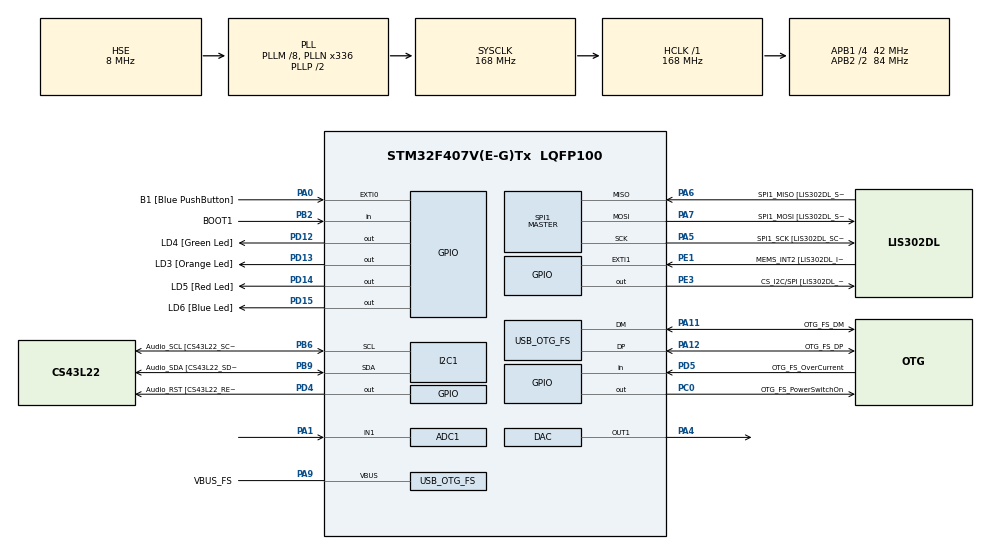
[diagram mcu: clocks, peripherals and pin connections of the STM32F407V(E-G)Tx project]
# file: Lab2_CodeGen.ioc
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ADC1.Channel-0\#ChannelRegularConversion=ADC_CHANNEL_1
ADC1.NbrOfConversionFlag=1
ADC1.Rank-0\#ChannelRegularConversion=1
ADC1.Resolution=ADC_RESOLUTION_10B
ADC1.SamplingTime-0\#ChannelRegularConversion=ADC_SAMPLETIME_3CYCLES
ADC1.master=1
Mcu.Family=STM32F4
Mcu.Name=STM32F407V(E-G)Tx
Mcu.Package=LQFP100
NVIC.ADC_IRQn=true\:0\:0\:false\:false\:true\:true
NVIC.OTG_FS_IRQn=true\:0\:0\:false\:false\:true\:true
NVIC.PriorityGroup=NVIC_PRIORITYGROUP_0
PA0-WKUP.GPIO_Label=B1 [Blue PushButton]
PA0-WKUP.GPIO_ModeDefaultEXTI=GPIO_MODE_EVT_RISING
PA0-WKUP.GPIO_PuPd=GPIO_NOPULL
PA0-WKUP.Signal=GPXTI0
PA1.Signal=ADCx_IN1
PA10.GPIO_Label=OTG_FS_ID
PA10.GPIO_Mode=GPIO_MODE_AF_PP
PA10.GPIO_PuPd=GPIO_NOPULL
PA10.GPIO_Speed=GPIO_SPEED_FREQ_LOW
PA10.Signal=USB_OTG_FS_ID
PA11.GPIO_Label=OTG_FS_DM
PA11.GPIO_Mode=GPIO_MODE_AF_PP
PA11.GPIO_PuPd=GPIO_NOPULL
PA11.GPIO_Speed=GPIO_SPEED_FREQ_LOW
PA11.Mode=Host_Only
PA11.Signal=USB_OTG_FS_DM
PA12.GPIO_Label=OTG_FS_DP
PA12.GPIO_Mode=GPIO_MODE_AF_PP
PA12.GPIO_PuPd=GPIO_NOPULL
PA12.GPIO_Speed=GPIO_SPEED_FREQ_LOW
PA12.Mode=Host_Only
PA12.Signal=USB_OTG_FS_DP
PA13.GPIO_Label=SWDIO
PA13.Mode=Serial_Wire
PA13.Signal=SYS_JTMS-SWDIO
PA14.GPIO_Label=SWCLK
PA14.Mode=Serial_Wire
PA14.Signal=SYS_JTCK-SWCLK
PA4.Signal=COMP_DAC1_group
PA5.GPIO_Label=SPI1_SCK [LIS302DL_SCL/SPC]
PA5.GPIO_Mode=GPIO_MODE_AF_PP
PA5.GPIO_PuPd=GPIO_NOPULL
PA5.GPIO_Speed=GPIO_SPEED_FREQ_LOW
PA5.Mode=Full_Duplex_Master
PA5.Signal=SPI1_SCK
PA6.GPIO_Label=SPI1_MISO [LIS302DL_SDO]
PA6.GPIO_Mode=GPIO_MODE_AF_PP
PA6.GPIO_PuPd=GPIO_NOPULL
PA6.GPIO_Speed=GPIO_SPEED_FREQ_LOW
PA6.Mode=Full_Duplex_Master
PA6.Signal=SPI1_MISO
PA7.GPIO_Label=SPI1_MOSI [LIS302DL_SDA/SDI/SDO]
PA7.GPIO_Mode=GPIO_MODE_AF_PP
PA7.GPIO_PuPd=GPIO_NOPULL
PA7.GPIO_Speed=GPIO_SPEED_FREQ_LOW
PA7.Mode=Full_Duplex_Master
PA7.Signal=SPI1_MOSI
PA9.GPIO_Label=VBUS_FS
PA9.GPIO_Mode=GPIO_MODE_INPUT
PA9.GPIO_PuPd=GPIO_NOPULL
PA9.Mode=Activate_VBUS
PA9.Signal=USB_OTG_FS_VBUS
PB10.GPIO_Label=CLK_IN [MP45DT02_CLK]
PB10.GPIO_Mode=GPIO_MODE_AF_PP
PB10.GPIO_PuPd=GPIO_NOPULL
PB10.GPIO_Speed=GPIO_SPEED_FREQ_LOW
PB10.Signal=I2S2_CK
PB2.GPIO_Label=BOOT1
PB2.GPIO_Mode=GPIO_MODE_INPUT
PB2.GPIO_PuPd=GPIO_NOPULL
PB2.Signal=GPIO_Input
PB3.GPIO_Label=SWO
PB3.Signal=SYS_JTDO-SWO
PB6.GPIO_Label=Audio_SCL [CS43L22_SCL]
PB6.GPIO_Mode=GPIO_MODE_AF_OD
PB6.GPIO_PuPd=GPIO_NOPULL
PB6.GPIO_Speed=GPIO_SPEED_FREQ_LOW
PB6.Mode=I2C
PB6.Signal=I2C1_SCL
PB9.GPIO_Label=Audio_SDA [CS43L22_SDA]
PB9.GPIO_Mode=GPIO_MODE_AF_OD
PB9.GPIO_PuPd=GPIO_NOPULL
PB9.GPIO_Speed=GPIO_SPEED_FREQ_LOW
PB9.Mode=I2C
PB9.Signal=I2C1_SDA
PC0.GPIO_Label=OTG_FS_PowerSwitchOn
PC0.GPIO_PuPd=GPIO_NOPULL
PC0.GPIO_Speed=GPIO_SPEED_FREQ_LOW
PC0.PinState=GPIO_PIN_SET
PC0.Signal=GPIO_Output
PC10.GPIO_Label=I2S3_SCK [CS43L22_SCLK]
PC10.GPIO_Mode=GPIO_MODE_AF_PP
PC10.GPIO_PuPd=GPIO_NOPULL
PC10.GPIO_Speed=GPIO_SPEED_FREQ_LOW
PC10.Signal=I2S3_CK
PC12.GPIO_Label=I2S3_SD [CS43L22_SDIN]
PC12.GPIO_Mode=GPIO_MODE_AF_PP
PC12.GPIO_PuPd=GPIO_NOPULL
PC12.GPIO_Speed=GPIO_SPEED_FREQ_LOW
PC12.Signal=I2S3_SD
PC14-OSC32_IN.GPIO_Label=PC14-OSC32_IN
PC14-OSC32_IN.Mode=LSE-External-Oscillator
PC14-OSC32_IN.Signal=RCC_OSC32_IN
PC15-OSC32_OUT.GPIO_Label=PC15-OSC32_OUT
PC15-OSC32_OUT.Mode=LSE-External-Oscillator
PC15-OSC32_OUT.Signal=RCC_OSC32_OUT
PC3.GPIO_Label=PDM_OUT [MP45DT02_DOUT]
PC3.GPIO_Mode=GPIO_MODE_AF_PP
PC3.GPIO_PuPd=GPIO_NOPULL
PC3.GPIO_Speed=GPIO_SPEED_FREQ_LOW
PC3.Signal=I2S2_SD
PC7.GPIO_Label=I2S3_MCK [CS43L22_MCLK]
PC7.GPIO_Mode=GPIO_MODE_AF_PP
PC7.GPIO_PuPd=GPIO_NOPULL
PC7.GPIO_Speed=GPIO_SPEED_FREQ_LOW
PC7.Signal=I2S3_MCK
PD12.GPIO_Label=LD4 [Green Led]
PD12.GPIO_PuPd=GPIO_NOPULL
PD12.GPIO_Speed=GPIO_SPEED_FREQ_LOW
PD12.Signal=GPIO_Output
PD13.GPIO_Label=LD3 [Orange Led]
PD13.GPIO_PuPd=GPIO_NOPULL
PD13.GPIO_Speed=GPIO_SPEED_FREQ_LOW
PD13.Signal=GPIO_Output
PD14.GPIO_Label=LD5 [Red Led]
PD14.GPIO_PuPd=GPIO_NOPULL
PD14.GPIO_Speed=GPIO_SPEED_FREQ_LOW
PD14.Signal=GPIO_Output
PD15.GPIO_Label=LD6 [Blue Led]
PD15.GPIO_PuPd=GPIO_NOPULL
PD15.GPIO_Speed=GPIO_SPEED_FREQ_LOW
PD15.Signal=GPIO_Output
PD4.GPIO_Label=Audio_RST [CS43L22_RESET]
PD4.GPIO_PuPd=GPIO_NOPULL
PD4.GPIO_Speed=GPIO_SPEED_FREQ_LOW
PD4.Signal=GPIO_Output
PD5.GPIO_Label=OTG_FS_OverCurrent
PD5.GPIO_Mode=GPIO_MODE_INPUT
PD5.GPIO_PuPd=GPIO_NOPULL
PD5.Signal=GPIO_Input
PE1.GPIO_Label=MEMS_INT2 [LIS302DL_INT2]
PE1.GPIO_ModeDefaultEXTI=GPIO_MODE_EVT_RISING
PE1.GPIO_PuPd=GPIO_NOPULL
PE1.Signal=GPXTI1
PE3.GPIO_Label=CS_I2C/SPI [LIS302DL_CS_I2C/SPI]
PE3.GPIO_PuPd=GPIO_NOPULL
PE3.GPIO_Speed=GPIO_SPEED_FREQ_LOW
PE3.Signal=GPIO_Output
PH0-OSC_IN.GPIO_Label=PH0-OSC_IN
PH0-OSC_IN.Mode=HSE-External-Oscillator
PH0-OSC_IN.Signal=RCC_OSC_IN
PH1-OSC_OUT.GPIO_Label=PH1-OSC_OUT
PH1-OSC_OUT.Mode=HSE-External-Oscillator
PH1-OSC_OUT.Signal=RCC_OSC_OUT
ProjectManager.HeapSize=0x200
ProjectManager.StackSize=0x400
ProjectManager.TargetToolchain=MDK-ARM V5
RCC.48MHZClocksFreq_Value=48000000
RCC.AHBFreq_Value=168000000
RCC.APB1CLKDivider=RCC_HCLK_DIV4
RCC.APB1Freq_Value=42000000
RCC.APB1TimFreq_Value=84000000
RCC.APB2CLKDivider=RCC_HCLK_DIV2
RCC.APB2Freq_Value=84000000
RCC.APB2TimFreq_Value=168000000
RCC.CortexFreq_Value=168000000
RCC.HCLKFreq_Value=168000000
RCC.HSE_VALUE=8000000
RCC.HSI_VALUE=16000000
RCC.PLLM=8
RCC.PLLN=336
RCC.PLLQ=7
RCC.SYSCLKFreq_VALUE=168000000
RCC.SYSCLKSource=RCC_SYSCLKSOURCE_PLLCLK
RCC.VCOOutputFreq_Value=336000000
SH.ADCx_IN1.0=ADC1_IN1,IN1
SH.COMP_DAC1_group.0=DAC_OUT1,DAC_OUT1
SPI1.BaudRatePrescaler-Full_Duplex_Master=SPI_BAUDRATEPRESCALER_2
SPI1.CalculateBaudRate-Full_Duplex_Master=42.0 MBits/s
SPI1.Direction=SPI_DIRECTION_2LINES
SPI1.Mode=SPI_MODE_MASTER
SPI1.Mode-Full_Duplex_Master=SPI_MODE_MASTER
SPI1.VirtualType=VM_MASTER
USB_HOST.BSP.number=1
USB_HOST.USBH_HandleTypeDef-CDC_FS=hUsbHostFS
USB_HOST.VirtualModeFS=Cdc
USB_HOST0.BSP.STBoard=false
USB_HOST0.BSP.api=UnknownBspDriver
USB_HOST0.BSP.i2caddr=0
USB_HOST0.BSP.i2creg=0
USB_HOST0.BSP.instance=PC0
USB_HOST0.BSP.ip=GPIO
USB_HOST0.BSP.mode=Output
USB_HOST0.BSP.name=Drive_VBUS_FS
USB_HOST0.BSP.solution=PC0
USB_OTG_FS.VirtualMode=Host_Only
USB_OTG_FS.phy_itface=HCD_PHY_EMBEDDED
VP_USB_HOST_VS_USB_HOST_CDC_FS.Mode=CDC_FS
board=STM32F4DISCOVERY

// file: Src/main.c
/**
  ******************************************************************************
  * @file           : main.c
  * @brief          : Main program body
  ******************************************************************************
  * This notice applies to any and all portions of this file
  * that are not between comment pairs USER CODE BEGIN and
  * USER CODE END. Other portions of this file, whether
  * inserted by the user or by software development tools
  * are owned by their respective copyright owners.
  *
  * Copyright (c) 2018 STMicroelectronics International N.V.
  * All rights reserved.
  *
  * Redistribution and use in source and binary forms, with or without
  * modification, are permitted, provided that the following conditions are met:
  *
  * 1. Redistribution of source code must retain the above copyright notice,
  *    this list of conditions and the following disclaimer.
  * 2. Redistributions in binary form must reproduce the above copyright notice,
  *    this list of conditions and the following disclaimer in the documentation
  *    and/or other materials provided with the distribution.
  * 3. Neither the name of STMicroelectronics nor the names of other
  *    contributors to this software may be used to endorse or promote products
  *    derived from this software without specific written permission.
  * 4. This software, including modifications and/or derivative works of this
  *    software, must execute solely and exclusively on microcontroller or
  *    microprocessor devices manufactured by or for STMicroelectronics.
  * 5. Redistribution and use of this software other than as permitted under
  *    this license is void and will automatically terminate your rights under
  *    this license.
  *
  * THIS SOFTWARE IS PROVIDED BY STMICROELECTRONICS AND CONTRIBUTORS "AS IS"
  * AND ANY EXPRESS, IMPLIED OR STATUTORY WARRANTIES, INCLUDING, BUT NOT
  * LIMITED TO, THE IMPLIED WARRANTIES OF MERCHANTABILITY, FITNESS FOR A
  * PARTICULAR PURPOSE AND NON-INFRINGEMENT OF THIRD PARTY INTELLECTUAL PROPERTY
  * RIGHTS ARE DISCLAIMED TO THE FULLEST EXTENT PERMITTED BY LAW. IN NO EVENT
  * SHALL STMICROELECTRONICS OR CONTRIBUTORS BE LIABLE FOR ANY DIRECT, INDIRECT,
  * INCIDENTAL, SPECIAL, EXEMPLARY, OR CONSEQUENTIAL DAMAGES (INCLUDING, BUT NOT
  * LIMITED TO, PROCUREMENT OF SUBSTITUTE GOODS OR SERVICES; LOSS OF USE, DATA,
  * OR PROFITS; OR BUSINESS INTERRUPTION) HOWEVER CAUSED AND ON ANY THEORY OF
  * LIABILITY, WHETHER IN CONTRACT, STRICT LIABILITY, OR TORT (INCLUDING
  * NEGLIGENCE OR OTHERWISE) ARISING IN ANY WAY OUT OF THE USE OF THIS SOFTWARE,
  * EVEN IF ADVISED OF THE POSSIBILITY OF SUCH DAMAGE.
  *
  ******************************************************************************
  */
#include "main.h"
#include "stm32f4xx_hal.h"
#include "usb_host.h"

ADC_HandleTypeDef hadc1;
//ADC_HandleTypeDef g_AdcHandle;
GPIO_InitTypeDef GPIO_InitDef;
DAC_HandleTypeDef hdac;
I2C_HandleTypeDef hi2c1;
SPI_HandleTypeDef hspi1;

/* USER CODE BEGIN PV */
/* Private variables ---------------------------------------------------------*/
 const uint16_t sine_wave_array[32] = {2047, 1648, 1264, 910, 600,  345,
                    156, 39,  0,  39,  156,  345,
                    600, 910, 1264, 1648, 2048, 2447,
                    2831, 3185, 3495, 3750, 3939, 4056,
                    4095, 4056, 3939, 3750, 3495, 3185,
                    2831, 2447};
/* USER CODE END PV */

void SystemClock_Config(void);
static void MX_GPIO_Init(void);
static void MX_ADC1_Init(void);
static void MX_DAC_Init(void);
static void MX_I2C1_Init(void);
static void MX_SPI1_Init(void);
void MX_USB_HOST_Process(void);
//void ConfigureADC(void);

/* USER CODE BEGIN PFP */
/* Private function prototypes -----------------------------------------------*/

/* USER CODE END PFP */

uint32_t g_ADCValue;
int g_MeasurementNumber;
int main(void)
{

  /* MCU Configuration----------------------------------------------------------*/

  /* Reset of all peripherals, Initializes the Flash interface and the Systick. */

  /* USER CODE BEGIN Init */
  HAL_Init();
  /* USER CODE END Init */

  /* Configure the system clock */
  SystemClock_Config();
//	ConfigureADC();

  /* Initialize all configured peripherals */
  MX_GPIO_Init();
  MX_ADC1_Init();
  MX_DAC_Init();
  MX_I2C1_Init();
  MX_SPI1_Init();
  MX_USB_HOST_Init();

  /* USER CODE BEGIN 2 */
	float voltage[5] = {30000, 20000, 30000, 10000, 20000};
	int counter = 0;

  HAL_DAC_Start(&hdac,DAC_CHANNEL_1);
	//HAL_DAC_SetValue(&hdac, DAC_CHANNEL_1, DAC_ALIGN_12B_R, voltage);
  /* USER CODE END 2 */

  /* Infinite loop */
  /* USER CODE BEGIN WHILE */
	float val = 0;
  while (1)
	{

		//float voltage = 30000;
		HAL_ADC_Start_IT(&hadc1);
		HAL_DAC_SetValue(&hdac, DAC_CHANNEL_1, DAC_ALIGN_12B_R, voltage[(counter++)%5]);
		/*HAL_ADC_Start(&hadc1);*/
		if(HAL_ADC_PollForConversion(&hadc1, POLL_TIMEOUT) == HAL_OK)
			val = HAL_ADC_GetValue(&hadc1);
			if(val > 100){
				HAL_GPIO_WritePin(GPIOD, LD3_Pin, GPIO_PIN_SET);
			}
			else{
				HAL_GPIO_WritePin(GPIOD, LD3_Pin, GPIO_PIN_RESET);
			}

  /* USER CODE END WHILE */
    //MX_USB_HOST_Process();
		if (HAL_GPIO_ReadPin(GPIOA, GPIO_PIN_0) == SET){
			HAL_GPIO_WritePin(GPIOD, LD3_Pin, GPIO_PIN_SET);
		}
		else{
			HAL_GPIO_WritePin(GPIOD, LD3_Pin, GPIO_PIN_RESET);
		}

				HAL_ADC_Stop(&hadc1);

  }

}

void SystemClock_Config(void)
{

  RCC_OscInitTypeDef RCC_OscInitStruct;
  RCC_ClkInitTypeDef RCC_ClkInitStruct;

    /**Configure the main internal regulator output voltage
    */
  __HAL_RCC_PWR_CLK_ENABLE();

  __HAL_PWR_VOLTAGESCALING_CONFIG(PWR_REGULATOR_VOLTAGE_SCALE1);

    /**Initializes the CPU, AHB and APB busses clocks
    */
  RCC_OscInitStruct.OscillatorType = RCC_OSCILLATORTYPE_HSE;
  RCC_OscInitStruct.HSEState = RCC_HSE_ON;
  RCC_OscInitStruct.PLL.PLLState = RCC_PLL_ON;
  RCC_OscInitStruct.PLL.PLLSource = RCC_PLLSOURCE_HSE;
  RCC_OscInitStruct.PLL.PLLM = 8;
  RCC_OscInitStruct.PLL.PLLN = 336;
  RCC_OscInitStruct.PLL.PLLP = RCC_PLLP_DIV2;
  RCC_OscInitStruct.PLL.PLLQ = 7;
  if (HAL_RCC_OscConfig(&RCC_OscInitStruct) != HAL_OK)
  {
    _Error_Handler(__FILE__, __LINE__);
  }

    /**Initializes the CPU, AHB and APB busses clocks
    */
  RCC_ClkInitStruct.ClockType = RCC_CLOCKTYPE_HCLK|RCC_CLOCKTYPE_SYSCLK
                              |RCC_CLOCKTYPE_PCLK1|RCC_CLOCKTYPE_PCLK2;
  RCC_ClkInitStruct.SYSCLKSource = RCC_SYSCLKSOURCE_PLLCLK;
  RCC_ClkInitStruct.AHBCLKDivider = RCC_SYSCLK_DIV1;
  RCC_ClkInitStruct.APB1CLKDivider = RCC_HCLK_DIV4;
  RCC_ClkInitStruct.APB2CLKDivider = RCC_HCLK_DIV2;

  if (HAL_RCC_ClockConfig(&RCC_ClkInitStruct, FLASH_LATENCY_5) != HAL_OK)
  {
    _Error_Handler(__FILE__, __LINE__);
  }

    /**Configure the Systick interrupt time
    */
  HAL_SYSTICK_Config(HAL_RCC_GetHCLKFreq()/1000);

    /**Configure the Systick
    */
  HAL_SYSTICK_CLKSourceConfig(SYSTICK_CLKSOURCE_HCLK);

  /* SysTick_IRQn interrupt configuration */
  HAL_NVIC_SetPriority(SysTick_IRQn, 0, 0);
}

/* ADC1 init function */
static void MX_ADC1_Init(void)
{

  ADC_ChannelConfTypeDef sConfig;
	__HAL_RCC_ADC1_CLK_ENABLE();

    /**Configure the global features of the ADC (Clock, Resolution, Data Alignment and number of conversion)
    */
  hadc1.Instance = ADC1;
  hadc1.Init.ClockPrescaler = ADC_CLOCK_SYNC_PCLK_DIV4;
  hadc1.Init.Resolution = ADC_RESOLUTION_10B;
  hadc1.Init.ScanConvMode = DISABLE;
  hadc1.Init.ContinuousConvMode = DISABLE;
  hadc1.Init.DiscontinuousConvMode = DISABLE;
  hadc1.Init.ExternalTrigConvEdge = ADC_EXTERNALTRIGCONVEDGE_NONE;
  hadc1.Init.ExternalTrigConv = ADC_SOFTWARE_START;
  hadc1.Init.DataAlign = ADC_DATAALIGN_RIGHT;
  hadc1.Init.NbrOfConversion = 1;
  hadc1.Init.DMAContinuousRequests = DISABLE;
  hadc1.Init.EOCSelection = ADC_EOC_SINGLE_CONV;
  if (HAL_ADC_Init(&hadc1) != HAL_OK)
  {
    _Error_Handler(__FILE__, __LINE__);
  }

    /**Configure for the selected ADC regular channel its corresponding rank in the sequencer and its sample time.
    */

  sConfig.Channel = ADC_CHANNEL_1;
  sConfig.Rank = 1;
  sConfig.SamplingTime = ADC_SAMPLETIME_3CYCLES;
  if (HAL_ADC_ConfigChannel(&hadc1, &sConfig) != HAL_OK)
  {
    _Error_Handler(__FILE__, __LINE__);
  }

/* initialize ADC mode struct */
	/*hadc1_mode.Mode = ADC_MODE_INDEPENDENT;
	hadc1_mode.DMAAccessMode = ADC_DMAACCESSMODE_DISABLED;
	hadc1_mode.TwoSamplingDelay = ADC_TWOSAMPLINGDELAY_5CYCLES;

	*/
	//ADC_CLK_EN;
	HAL_ADC_ConfigChannel(&hadc1, &sConfig);
//	HAL_ADCEx_MultiModeConfigChannel(&hadc1, &example_ADC_Mode);	/* configure mode */

	//ADC_CLK_EN;

	GPIO_InitDef.Pin = ADC_Pin;
	GPIO_InitDef.Mode = GPIO_MODE_ANALOG;
	GPIO_InitDef.Pull = GPIO_PULLDOWN;
	GPIO_InitDef.Speed = GPIO_SPEED_FREQ_MEDIUM;

	HAL_GPIO_Init(ADC_GPIO_Port, &GPIO_InitDef);

}

/* DAC init function */
static void MX_DAC_Init(void)
{
  DAC_ChannelConfTypeDef sConfig;
	GPIO_InitTypeDef GPIO_InitStruct;

    /**DAC Initialization
    */
  hdac.Instance = DAC;
	HAL_DAC_Init(&hdac);
  if (HAL_DAC_Init(&hdac) != HAL_OK)
  {
    _Error_Handler(__FILE__, __LINE__);
  }

    /**DAC channel OUT1 config
    */
  sConfig.DAC_Trigger = DAC_TRIGGER_NONE;
  sConfig.DAC_OutputBuffer = DAC_OUTPUTBUFFER_ENABLE;
  if (HAL_DAC_ConfigChannel(&hdac, &sConfig, DAC_CHANNEL_1) != HAL_OK)
  {
    _Error_Handler(__FILE__, __LINE__);
  }
	HAL_DAC_ConfigChannel(&hdac, &sConfig, DAC_CHANNEL_1);
	GPIO_InitStruct.Pin = GPIO_PIN_1;
  GPIO_InitStruct.Mode = GPIO_MODE_ANALOG;
  GPIO_InitStruct.Pull = GPIO_NOPULL;
  HAL_GPIO_Init(GPIOA, &GPIO_InitStruct);

}

/* I2C1 init function */
static void MX_I2C1_Init(void)
{

  hi2c1.Instance = I2C1;
  hi2c1.Init.ClockSpeed = 100000;
  hi2c1.Init.DutyCycle = I2C_DUTYCYCLE_2;
  hi2c1.Init.OwnAddress1 = 0;
  hi2c1.Init.AddressingMode = I2C_ADDRESSINGMODE_7BIT;
  hi2c1.Init.DualAddressMode = I2C_DUALADDRESS_DISABLE;
  hi2c1.Init.OwnAddress2 = 0;
  hi2c1.Init.GeneralCallMode = I2C_GENERALCALL_DISABLE;
  hi2c1.Init.NoStretchMode = I2C_NOSTRETCH_DISABLE;
  if (HAL_I2C_Init(&hi2c1) != HAL_OK)
  {
    _Error_Handler(__FILE__, __LINE__);
  }

}

/* SPI1 init function */
static void MX_SPI1_Init(void)
{

  /* SPI1 parameter configuration*/
  hspi1.Instance = SPI1;
  hspi1.Init.Mode = SPI_MODE_MASTER;
  hspi1.Init.Direction = SPI_DIRECTION_2LINES;
  hspi1.Init.DataSize = SPI_DATASIZE_8BIT;
  hspi1.Init.CLKPolarity = SPI_POLARITY_LOW;
  hspi1.Init.CLKPhase = SPI_PHASE_1EDGE;
  hspi1.Init.NSS = SPI_NSS_SOFT;
  hspi1.Init.BaudRatePrescaler = SPI_BAUDRATEPRESCALER_2;
  hspi1.Init.FirstBit = SPI_FIRSTBIT_MSB;
  hspi1.Init.TIMode = SPI_TIMODE_DISABLE;
  hspi1.Init.CRCCalculation = SPI_CRCCALCULATION_DISABLE;
  hspi1.Init.CRCPolynomial = 10;
  if (HAL_SPI_Init(&hspi1) != HAL_OK)
  {
    _Error_Handler(__FILE__, __LINE__);
  }

}

/** Configure pins as
        * Analog
        * Input
        * Output
        * EVENT_OUT
        * EXTI
     PC3   ------> I2S2_SD
     PB10   ------> I2S2_CK
     PC7   ------> I2S3_MCK
     PC10   ------> I2S3_CK
     PC12   ------> I2S3_SD
*/
static void MX_GPIO_Init(void)
{

  GPIO_InitTypeDef GPIO_InitStruct;

  /* GPIO Ports Clock Enable */
  __HAL_RCC_GPIOE_CLK_ENABLE();
  __HAL_RCC_GPIOC_CLK_ENABLE();
  __HAL_RCC_GPIOH_CLK_ENABLE();
  __HAL_RCC_GPIOA_CLK_ENABLE();
  __HAL_RCC_GPIOB_CLK_ENABLE();
  __HAL_RCC_GPIOD_CLK_ENABLE();

  /*Configure GPIO pin Output Level */
  HAL_GPIO_WritePin(CS_I2C_SPI_GPIO_Port, CS_I2C_SPI_Pin, GPIO_PIN_RESET);

  /*Configure GPIO pin Output Level */
  HAL_GPIO_WritePin(OTG_FS_PowerSwitchOn_GPIO_Port, OTG_FS_PowerSwitchOn_Pin, GPIO_PIN_SET);

  /*Configure GPIO pin Output Level */
  HAL_GPIO_WritePin(GPIOD, LD4_Pin|LD3_Pin|LD5_Pin|LD6_Pin
                          |Audio_RST_Pin, GPIO_PIN_RESET);

  /*Configure GPIO pin : CS_I2C_SPI_Pin */
  GPIO_InitStruct.Pin = CS_I2C_SPI_Pin;
  GPIO_InitStruct.Mode = GPIO_MODE_OUTPUT_PP;
  GPIO_InitStruct.Pull = GPIO_NOPULL;
  GPIO_InitStruct.Speed = GPIO_SPEED_FREQ_LOW;
  HAL_GPIO_Init(CS_I2C_SPI_GPIO_Port, &GPIO_InitStruct);

  /*Configure GPIO pin : OTG_FS_PowerSwitchOn_Pin */
  GPIO_InitStruct.Pin = OTG_FS_PowerSwitchOn_Pin;
  GPIO_InitStruct.Mode = GPIO_MODE_OUTPUT_PP;
  GPIO_InitStruct.Pull = GPIO_NOPULL;
  GPIO_InitStruct.Speed = GPIO_SPEED_FREQ_LOW;
  HAL_GPIO_Init(OTG_FS_PowerSwitchOn_GPIO_Port, &GPIO_InitStruct);

  /*Configure GPIO pin : PDM_OUT_Pin */
  GPIO_InitStruct.Pin = PDM_OUT_Pin;
  GPIO_InitStruct.Mode = GPIO_MODE_AF_PP;
  GPIO_InitStruct.Pull = GPIO_NOPULL;
  GPIO_InitStruct.Speed = GPIO_SPEED_FREQ_LOW;
  GPIO_InitStruct.Alternate = GPIO_AF5_SPI2;
  HAL_GPIO_Init(PDM_OUT_GPIO_Port, &GPIO_InitStruct);

  /*Configure GPIO pin : B1_Pin */
  GPIO_InitStruct.Pin = B1_Pin;
  GPIO_InitStruct.Mode = GPIO_MODE_EVT_RISING;
  GPIO_InitStruct.Pull = GPIO_NOPULL;
  HAL_GPIO_Init(B1_GPIO_Port, &GPIO_InitStruct);

  /*Configure GPIO pin : BOOT1_Pin */
  GPIO_InitStruct.Pin = BOOT1_Pin;
  GPIO_InitStruct.Mode = GPIO_MODE_INPUT;
  GPIO_InitStruct.Pull = GPIO_NOPULL;
  HAL_GPIO_Init(BOOT1_GPIO_Port, &GPIO_InitStruct);

  /*Configure GPIO pin : CLK_IN_Pin */
  GPIO_InitStruct.Pin = CLK_IN_Pin;
  GPIO_InitStruct.Mode = GPIO_MODE_AF_PP;
  GPIO_InitStruct.Pull = GPIO_NOPULL;
  GPIO_InitStruct.Speed = GPIO_SPEED_FREQ_LOW;
  GPIO_InitStruct.Alternate = GPIO_AF5_SPI2;
  HAL_GPIO_Init(CLK_IN_GPIO_Port, &GPIO_InitStruct);

  /*Configure GPIO pins : LD4_Pin LD3_Pin LD5_Pin LD6_Pin
                           Audio_RST_Pin */
  GPIO_InitStruct.Pin = LD4_Pin|LD3_Pin|LD5_Pin|LD6_Pin
                          |Audio_RST_Pin;
  GPIO_InitStruct.Mode = GPIO_MODE_OUTPUT_PP;
  GPIO_InitStruct.Pull = GPIO_NOPULL;
  GPIO_InitStruct.Speed = GPIO_SPEED_FREQ_LOW;
  HAL_GPIO_Init(GPIOD, &GPIO_InitStruct);

  /*Configure GPIO pins : I2S3_MCK_Pin I2S3_SCK_Pin I2S3_SD_Pin */
  GPIO_InitStruct.Pin = I2S3_MCK_Pin|I2S3_SCK_Pin|I2S3_SD_Pin;
  GPIO_InitStruct.Mode = GPIO_MODE_AF_PP;
  GPIO_InitStruct.Pull = GPIO_NOPULL;
  GPIO_InitStruct.Speed = GPIO_SPEED_FREQ_LOW;
  GPIO_InitStruct.Alternate = GPIO_AF6_SPI3;
  HAL_GPIO_Init(GPIOC, &GPIO_InitStruct);

  /*Configure GPIO pin : OTG_FS_OverCurrent_Pin */
  GPIO_InitStruct.Pin = OTG_FS_OverCurrent_Pin;
  GPIO_InitStruct.Mode = GPIO_MODE_INPUT;
  GPIO_InitStruct.Pull = GPIO_NOPULL;
  HAL_GPIO_Init(OTG_FS_OverCurrent_GPIO_Port, &GPIO_InitStruct);

  /*Configure GPIO pin : MEMS_INT2_Pin */
  GPIO_InitStruct.Pin = MEMS_INT2_Pin;
  GPIO_InitStruct.Mode = GPIO_MODE_EVT_RISING;
  GPIO_InitStruct.Pull = GPIO_NOPULL;
  HAL_GPIO_Init(MEMS_INT2_GPIO_Port, &GPIO_InitStruct);

	/* Initialize the Blue Button */
	GPIO_InitStruct.Pin = GPIO_PIN_0;
	GPIO_InitStruct.Mode = GPIO_MODE_INPUT;
	GPIO_InitStruct.Pull = GPIO_NOPULL;
	GPIO_InitStruct.Speed = GPIO_SPEED_FREQ_MEDIUM;
	HAL_GPIO_Init(GPIOA, &GPIO_InitStruct);

	/* Setting up the DAC */

}

void _Error_Handler(char *file, int line)
{
  while(1)
  {
  }
}

/************************ (C) COPYRIGHT STMicroelectronics *****END OF FILE****/
